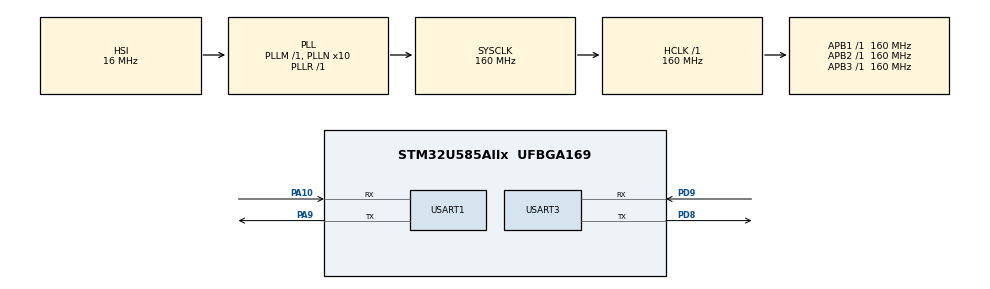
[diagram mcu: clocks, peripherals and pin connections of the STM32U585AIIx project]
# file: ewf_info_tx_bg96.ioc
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CORTEX_M33_NS.userName=CORTEX_M33
Mcu.Family=STM32U5
Mcu.Name=STM32U585AIIx
Mcu.Package=UFBGA169
NVIC.PriorityGroup=NVIC_PRIORITYGROUP_4
NVIC.TIM6_IRQn=true\:15\:0\:false\:false\:true\:false\:false\:true\:true
NVIC.TimeBase=TIM6_IRQn
NVIC.TimeBaseIP=TIM6
NVIC.USART1_IRQn=true\:5\:0\:true\:false\:true\:false\:false\:true\:true
NVIC.USART3_IRQn=true\:0\:0\:false\:false\:true\:false\:true\:true\:true
PA10.Mode=Asynchronous
PA10.Signal=USART1_RX
PA9.Mode=Asynchronous
PA9.Signal=USART1_TX
PD8.Mode=Asynchronous
PD8.Signal=USART3_TX
PD9.Mode=Asynchronous
PD9.Signal=USART3_RX
PWR.PowerMode=PWR_SMPS_SUPPLY
ProjectManager.HeapSize=0x200
ProjectManager.StackSize=0x400
ProjectManager.TargetToolchain=EWARM V8.50
RCC.ADCFreq_Value=16000000
RCC.AHBFreq_Value=160000000
RCC.APB1Freq_Value=160000000
RCC.APB1TimFreq_Value=160000000
RCC.APB2Freq_Value=160000000
RCC.APB2TimFreq_Value=160000000
RCC.APB3Freq_Value=160000000
RCC.CortexFreq_Value=160000000
RCC.DACCLockSelectionVirtual=RCC_DAC1CLKSOURCE_LSI
RCC.DACCLockSelectionVirtualString=RCC_DAC1CLKSOURCE_LSI
RCC.EPOD_VALUE=16000000
RCC.HCLKFreq_Value=160000000
RCC.HSE_VALUE=16000000
RCC.HSI48_VALUE=48000000
RCC.HSI_VALUE=16000000
RCC.LSE_VALUE=32768
RCC.LSIDIV_VALUE=32000
RCC.MSIClockRange=RCC_MSIRANGE_0
RCC.MSI_VALUE=48000000
RCC.PLL1R=1
RCC.PLLN=10
RCC.PLLSourceVirtual=RCC_PLLSOURCE_HSI
RCC.SPI2CLockSelection=RCC_SPI2CLKSOURCE_PCLK1
RCC.SYSCLKFreq_VALUE=160000000
RCC.SYSCLKSource=RCC_SYSCLKSOURCE_PLLCLK
RCC.USBFreq_Value=48000000
RCC.VCOOutputFreq_Value=160000000
THREADX.AZRTOS_APP_MEM_ALLOCATION_METHOD=1
THREADX.TX_APP_MEM_POOL_SIZE=(1024*2)
USART1.VirtualMode-Asynchronous=VM_ASYNC
USART3.FIFOMode=FIFOMODE_DISABLE
USART3.VirtualMode-Asynchronous=VM_ASYNC
VP_ICACHE_VS_ICACHE.Mode=DirectMappedCache
VP_LPBAMQUEUE_VS_QUEUE.Mode=QUEUEMODE
VP_LPBAM_VS_SIG1.Mode=SmartRun
VP_LPBAM_VS_SIG4.Mode=LPDMA1
VP_PWR_VS_DBSignals.Mode=DisableDeadBatterySignals
VP_PWR_VS_LPOM.Mode=PowerOptimisation
VP_PWR_VS_SECSignals.Mode=Security/Privilege
VP_SYS_VS_tim6.Mode=TIM6
VP_THREADX_VS_RTOSJjThreadXJjCoreJjDefault.Mode=Core_Default
board=custom

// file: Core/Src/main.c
/* USER CODE BEGIN Header */
/**
******************************************************************************
* @file           : main.c
* @brief          : Main program body
******************************************************************************
* @attention
*
* Copyright (c) 2022 STMicroelectronics.
* All rights reserved.
*
* This software is licensed under terms that can be found in the LICENSE file
* in the root directory of this software component.
* If no LICENSE file comes with this software, it is provided AS-IS.
*
******************************************************************************
*/
/* USER CODE END Header */
#include "main.h"
#include "app_threadx.h"

/* USER CODE BEGIN Includes */

#include <stdlib.h>

#include "stm32u5xx_hal.h"
#include "stm32u5xx_ll_bus.h"
#include "stm32u5xx_ll_rcc.h"
#include "stm32u5xx_ll_system.h"
#include "stm32u5xx_ll_utils.h"
#include "stm32u5xx_ll_pwr.h"
#include "stm32u5xx_ll_exti.h"
#include "stm32u5xx_ll_gpio.h"
#include "stm32u5xx_ll_usart.h"

#include "ewf_lib.c"
#include "ewf_platform_threadx.c"
#include "ewf_allocator.c"
#include "ewf_allocator_threadx.c"
#include "ewf_interface.c"
#include "ewf_interface_stm32_uart.c"
#include "ewf_adapter.c"
#include "ewf_adapter_api_control.c"
#include "ewf_adapter_api_info.c"
#include "ewf_adapter_api_tls_basic.c"
#include "ewf_adapter_api_mqtt_basic.c"
#include "ewf_adapter_api_tcp.c"
#include "ewf_adapter_api_udp.c"
#include "ewf_adapter_api_modem.c"
#include "ewf_adapter_api_modem_general.c"
#include "ewf_adapter_api_modem_network_service.c"
#include "ewf_adapter_api_modem_packet_domain.c"
#include "ewf_adapter_api_modem_sim_utility.c"
#include "ewf_adapter_api_modem_sms.c"
#include "ewf_adapter_quectel_bg96.c"

#include "ewf_example.config.h"
/* USER CODE END Includes */

/* USER CODE BEGIN PTD */
#if defined ( __GNUC__) && !defined(__clang__)
/* With GCC, small printf (option LD Linker->Libraries->Small printf
   set to 'Yes') calls __io_putchar() */
#define PUTCHAR_PROTOTYPE int __io_putchar(int ch)
#else
#define PUTCHAR_PROTOTYPE int fputc(int ch, FILE *f)
#endif /* __GNUC__ */

/* USER CODE END PTD */

UART_HandleTypeDef huart1;
UART_HandleTypeDef huart3;

void SystemClock_Config(void);
static void SystemPower_Config(void);
static void MX_GPIO_Init(void);
static void MX_ICACHE_Init(void);
static void MX_USART1_UART_Init(void);
static void MX_USART3_UART_Init(void);

/* USER CODE BEGIN 0 */
void thread_sample_entry(ULONG thread_input)
{
    ewf_result result;

    ewf_allocator* message_allocator_ptr = NULL;
    ewf_allocator* data_allocator_ptr = NULL;
    ewf_interface* interface_ptr = NULL;
    ewf_adapter* adapter_ptr = NULL;

    EWF_ALLOCATOR_THREADX_STATIC_DECLARE(message_allocator_ptr, message_allocator, EWF_CONFIG_MESSAGE_ALLOCATOR_BLOCK_COUNT, EWF_CONFIG_MESSAGE_ALLOCATOR_BLOCK_SIZE);
    EWF_ALLOCATOR_THREADX_STATIC_DECLARE(data_allocator_ptr, data_allocator, 4, 1500);
    EWF_INTERFACE_STM32_UART_STATIC_DECLARE(interface_ptr, stm32_uart_port, &huart3);
    EWF_ADAPTER_QUECTEL_BG96_STATIC_DECLARE(adapter_ptr, quectel_bg96, message_allocator_ptr, data_allocator_ptr, interface_ptr);

    /* Start the adapter.  */
    if (ewf_result_failed(result = ewf_adapter_start(adapter_ptr)))
    {
        EWF_LOG_ERROR("Failed to start the adapter: result 0x%08x.", result);
        exit(result);
    }

    // Set the SIM PIN
    if (ewf_result_failed(result = ewf_adapter_modem_sim_pin_enter(adapter_ptr, EWF_CONFIG_SIM_PIN)))
    {
        EWF_LOG_ERROR("Failed to the SIM PIN: result 0x%08x.", result);
        exit(result);
    }

    // Set the ME functionality
    if (ewf_result_failed(result = ewf_adapter_modem_functionality_set(adapter_ptr, "1")))
    {
        EWF_LOG_ERROR("Failed to the ME functionality: result 0x%08x.", result);
        exit(result);
    }

    /* Run the adapter tests.  */
    if (ewf_result_failed(result = ewf_adapter_info(adapter_ptr)))
    {
        EWF_LOG_ERROR("Failed to run the adapter test: result 0x%08x.", result);
        exit(result);
    }

    /* Stay here forever.  */
    while (1)
    {
        tx_thread_sleep(100);
    }
}

/* USER CODE END 0 */

int main(void)
{

  /* MCU Configuration--------------------------------------------------------*/

  /* Reset of all peripherals, Initializes the Flash interface and the Systick. */
  HAL_Init();

  /* Configure the system clock */
  SystemClock_Config();

  /* Configure the System Power */
  SystemPower_Config();

  /* Initialize all configured peripherals */
  MX_GPIO_Init();
  MX_ICACHE_Init();
  MX_USART1_UART_Init();
  MX_USART3_UART_Init();
  /* USER CODE BEGIN 2 */
  printf("\r\n***************\r\nSample program to get information from Modem\r\n***************\r\n");
  /* USER CODE END 2 */

  MX_ThreadX_Init();

  /* We should never get here as control is now taken by the scheduler */
  /* Infinite loop */
  while (1)
  {

  }
}

void SystemClock_Config(void)
{
  RCC_OscInitTypeDef RCC_OscInitStruct = {0};
  RCC_ClkInitTypeDef RCC_ClkInitStruct = {0};

  /** Configure the main internal regulator output voltage
  */
  if (HAL_PWREx_ControlVoltageScaling(PWR_REGULATOR_VOLTAGE_SCALE1) != HAL_OK)
  {
    Error_Handler();
  }

  /** Initializes the CPU, AHB and APB buses clocks
  */
  RCC_OscInitStruct.OscillatorType = RCC_OSCILLATORTYPE_HSI;
  RCC_OscInitStruct.HSIState = RCC_HSI_ON;
  RCC_OscInitStruct.HSICalibrationValue = RCC_HSICALIBRATION_DEFAULT;
  RCC_OscInitStruct.PLL.PLLState = RCC_PLL_ON;
  RCC_OscInitStruct.PLL.PLLSource = RCC_PLLSOURCE_HSI;
  RCC_OscInitStruct.PLL.PLLMBOOST = RCC_PLLMBOOST_DIV1;
  RCC_OscInitStruct.PLL.PLLM = 1;
  RCC_OscInitStruct.PLL.PLLN = 10;
  RCC_OscInitStruct.PLL.PLLP = 2;
  RCC_OscInitStruct.PLL.PLLQ = 2;
  RCC_OscInitStruct.PLL.PLLR = 1;
  RCC_OscInitStruct.PLL.PLLRGE = RCC_PLLVCIRANGE_1;
  RCC_OscInitStruct.PLL.PLLFRACN = 0;
  if (HAL_RCC_OscConfig(&RCC_OscInitStruct) != HAL_OK)
  {
    Error_Handler();
  }

  /** Initializes the CPU, AHB and APB buses clocks
  */
  RCC_ClkInitStruct.ClockType = RCC_CLOCKTYPE_HCLK|RCC_CLOCKTYPE_SYSCLK
                              |RCC_CLOCKTYPE_PCLK1|RCC_CLOCKTYPE_PCLK2
                              |RCC_CLOCKTYPE_PCLK3;
  RCC_ClkInitStruct.SYSCLKSource = RCC_SYSCLKSOURCE_PLLCLK;
  RCC_ClkInitStruct.AHBCLKDivider = RCC_SYSCLK_DIV1;
  RCC_ClkInitStruct.APB1CLKDivider = RCC_HCLK_DIV1;
  RCC_ClkInitStruct.APB2CLKDivider = RCC_HCLK_DIV1;
  RCC_ClkInitStruct.APB3CLKDivider = RCC_HCLK_DIV1;

  if (HAL_RCC_ClockConfig(&RCC_ClkInitStruct, FLASH_LATENCY_4) != HAL_OK)
  {
    Error_Handler();
  }
}

/**
  * @brief Power Configuration
  * @retval None
  */
static void SystemPower_Config(void)
{

  /*
   * Disable the internal Pull-Up in Dead Battery pins of UCPD peripheral
   */
  HAL_PWREx_DisableUCPDDeadBattery();
}

static void MX_ICACHE_Init(void)
{

  /** Enable instruction cache in 1-way (direct mapped cache)
  */
  if (HAL_ICACHE_ConfigAssociativityMode(ICACHE_1WAY) != HAL_OK)
  {
    Error_Handler();
  }
  if (HAL_ICACHE_Enable() != HAL_OK)
  {
    Error_Handler();
  }

}

static void MX_USART1_UART_Init(void)
{

  huart1.Instance = USART1;
  huart1.Init.BaudRate = 115200;
  huart1.Init.WordLength = UART_WORDLENGTH_8B;
  huart1.Init.StopBits = UART_STOPBITS_1;
  huart1.Init.Parity = UART_PARITY_NONE;
  huart1.Init.Mode = UART_MODE_TX_RX;
  huart1.Init.HwFlowCtl = UART_HWCONTROL_NONE;
  huart1.Init.OverSampling = UART_OVERSAMPLING_16;
  huart1.Init.OneBitSampling = UART_ONE_BIT_SAMPLE_DISABLE;
  huart1.Init.ClockPrescaler = UART_PRESCALER_DIV1;
  huart1.AdvancedInit.AdvFeatureInit = UART_ADVFEATURE_NO_INIT;
  if (HAL_UART_Init(&huart1) != HAL_OK)
  {
    Error_Handler();
  }
  if (HAL_UARTEx_SetTxFifoThreshold(&huart1, UART_TXFIFO_THRESHOLD_1_8) != HAL_OK)
  {
    Error_Handler();
  }
  if (HAL_UARTEx_SetRxFifoThreshold(&huart1, UART_RXFIFO_THRESHOLD_1_8) != HAL_OK)
  {
    Error_Handler();
  }
  if (HAL_UARTEx_DisableFifoMode(&huart1) != HAL_OK)
  {
    Error_Handler();
  }

}

static void MX_USART3_UART_Init(void)
{

  huart3.Instance = USART3;
  huart3.Init.BaudRate = 115200;
  huart3.Init.WordLength = UART_WORDLENGTH_8B;
  huart3.Init.StopBits = UART_STOPBITS_1;
  huart3.Init.Parity = UART_PARITY_NONE;
  huart3.Init.Mode = UART_MODE_TX_RX;
  huart3.Init.HwFlowCtl = UART_HWCONTROL_NONE;
  huart3.Init.OverSampling = UART_OVERSAMPLING_16;
  huart3.Init.OneBitSampling = UART_ONE_BIT_SAMPLE_DISABLE;
  huart3.Init.ClockPrescaler = UART_PRESCALER_DIV1;
  huart3.AdvancedInit.AdvFeatureInit = UART_ADVFEATURE_NO_INIT;
  if (HAL_UART_Init(&huart3) != HAL_OK)
  {
    Error_Handler();
  }
  if (HAL_UARTEx_SetTxFifoThreshold(&huart3, UART_TXFIFO_THRESHOLD_1_8) != HAL_OK)
  {
    Error_Handler();
  }
  if (HAL_UARTEx_SetRxFifoThreshold(&huart3, UART_RXFIFO_THRESHOLD_1_8) != HAL_OK)
  {
    Error_Handler();
  }
  if (HAL_UARTEx_DisableFifoMode(&huart3) != HAL_OK)
  {
    Error_Handler();
  }

}

static void MX_GPIO_Init(void)
{

  /* GPIO Ports Clock Enable */
  __HAL_RCC_GPIOA_CLK_ENABLE();
  __HAL_RCC_GPIOD_CLK_ENABLE();

}

/* USER CODE BEGIN 4 */
/**
* @brief  Retargets the C library printf function to the USART.
* @param  None
* @retval None
*/

PUTCHAR_PROTOTYPE
{
    /* Place your implementation of fputc here */
    /* e.g. write a character to the USART1 and Loop until the end of transmission */
    HAL_UART_Transmit(&huart1, (uint8_t *)&ch, 1, 0xFFFF);
    return ch;
}

/* USER CODE END 4 */

void HAL_TIM_PeriodElapsedCallback(TIM_HandleTypeDef *htim)
{
  if (htim->Instance == TIM6) {
    HAL_IncTick();
  }
}

void Error_Handler(void)
{
  __disable_irq();
  while (1)
  {
  }
}
